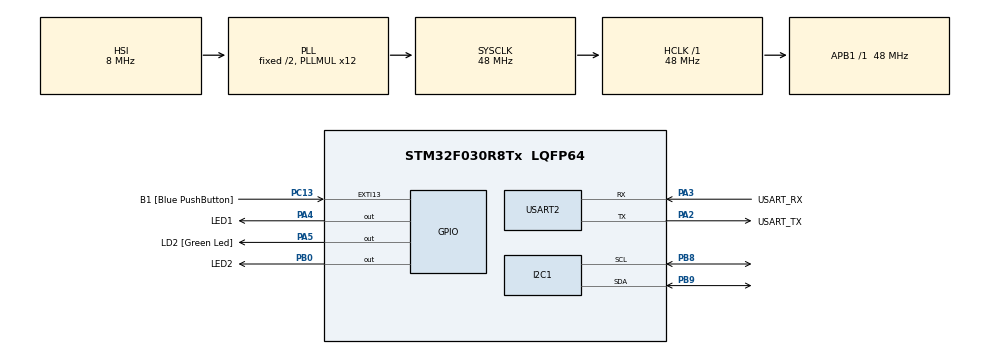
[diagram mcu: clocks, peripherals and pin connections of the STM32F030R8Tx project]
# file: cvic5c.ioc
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Dma.Request0=USART2_RX
Dma.USART2_RX.0.Direction=DMA_PERIPH_TO_MEMORY
Dma.USART2_RX.0.Instance=DMA1_Channel5
Dma.USART2_RX.0.MemDataAlignment=DMA_MDATAALIGN_BYTE
Dma.USART2_RX.0.MemInc=DMA_MINC_ENABLE
Dma.USART2_RX.0.Mode=DMA_CIRCULAR
Dma.USART2_RX.0.PeriphDataAlignment=DMA_PDATAALIGN_BYTE
Dma.USART2_RX.0.PeriphInc=DMA_PINC_DISABLE
Dma.USART2_RX.0.Priority=DMA_PRIORITY_LOW
Mcu.Family=STM32F0
Mcu.Name=STM32F030R8Tx
Mcu.Package=LQFP64
NVIC.DMA1_Channel4_5_IRQn=true\:0\:0\:false\:false\:true\:false\:true\:true
PA13.GPIO_Label=TMS
PA13.Mode=Serial_Wire
PA13.Signal=SYS_SWDIO
PA14.GPIO_Label=TCK
PA14.Mode=Serial_Wire
PA14.Signal=SYS_SWCLK
PA2.GPIO_Label=USART_TX
PA2.GPIO_Mode=GPIO_MODE_AF_PP
PA2.GPIO_PuPd=GPIO_NOPULL
PA2.GPIO_Speed=GPIO_SPEED_FREQ_LOW
PA2.Mode=Asynchronous
PA2.Signal=USART2_TX
PA3.GPIO_Label=USART_RX
PA3.GPIO_Mode=GPIO_MODE_AF_PP
PA3.GPIO_PuPd=GPIO_NOPULL
PA3.GPIO_Speed=GPIO_SPEED_FREQ_LOW
PA3.Mode=Asynchronous
PA3.Signal=USART2_RX
PA4.GPIO_Label=LED1
PA4.Signal=GPIO_Output
PA5.GPIO_Label=LD2 [Green Led]
PA5.GPIO_Mode=GPIO_MODE_OUTPUT_PP
PA5.GPIO_PuPd=GPIO_NOPULL
PA5.GPIO_Speed=GPIO_SPEED_FREQ_LOW
PA5.Signal=GPIO_Output
PB0.GPIO_Label=LED2
PB0.Signal=GPIO_Output
PB8.Mode=I2C
PB8.Signal=I2C1_SCL
PB9.Mode=I2C
PB9.Signal=I2C1_SDA
PC13.GPIO_Label=B1 [Blue PushButton]
PC13.GPIO_ModeDefaultEXTI=GPIO_MODE_IT_FALLING
PC13.Signal=GPXTI13
PC14-OSC32_IN.Mode=LSE-External-Oscillator
PC14-OSC32_IN.Signal=RCC_OSC32_IN
PC15-OSC32_OUT.Mode=LSE-External-Oscillator
PC15-OSC32_OUT.Signal=RCC_OSC32_OUT
PF0-OSC_IN.Mode=HSE-External-Clock-Source
PF0-OSC_IN.Signal=RCC_OSC_IN
PF1-OSC_OUT.Signal=RCC_OSC_OUT
ProjectManager.HeapSize=0x200
ProjectManager.StackSize=0x400
ProjectManager.TargetToolchain=STM32CubeIDE
RCC.AHBFreq_Value=48000000
RCC.APB1Freq_Value=48000000
RCC.APB1TimFreq_Value=48000000
RCC.HCLKFreq_Value=48000000
RCC.PLLMUL=RCC_PLL_MUL12
RCC.SYSCLKFreq_VALUE=48000000
RCC.SYSCLKSource=RCC_SYSCLKSOURCE_PLLCLK
USART2.VirtualMode-Asynchronous=VM_ASYNC
board=NUCLEO-F030R8

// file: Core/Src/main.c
/* USER CODE BEGIN Header */
/**
  ******************************************************************************
  * @file           : main.c
  * @brief          : Main program body
  ******************************************************************************
  * @attention
  *
  * Copyright (c) 2022 STMicroelectronics.
  * All rights reserved.
  *
  * This software is licensed under terms that can be found in the LICENSE file
  * in the root directory of this software component.
  * If no LICENSE file comes with this software, it is provided AS-IS.
  *
  ******************************************************************************
  */
/* USER CODE END Header */
#include "main.h"

/* USER CODE BEGIN Includes */
#include <stdio.h>
#include <string.h>
#include <stdlib.h>     /* strtol */
/* USER CODE END Includes */

/* USER CODE BEGIN PD */
#define RX_BUFFER_LEN 64
#define CMD_BUFFER_LEN 256
#define uart_rx_write_ptr (RX_BUFFER_LEN - hdma_usart2_rx.Instance->CNDTR)
#define EEPROM_ADDR 0xA0 // i2c memory add

/* USER CODE END PD */

I2C_HandleTypeDef hi2c1;

UART_HandleTypeDef huart2;
DMA_HandleTypeDef hdma_usart2_rx;

/* USER CODE BEGIN PV */
static uint8_t uart_rx_buf[RX_BUFFER_LEN];
static volatile uint16_t uart_rx_read_ptr = 0;
/* USER CODE END PV */

void SystemClock_Config(void);
static void MX_GPIO_Init(void);
static void MX_DMA_Init(void);
static void MX_USART2_UART_Init(void);
static void MX_I2C1_Init(void);
/* USER CODE BEGIN PFP */
static void uart_process_command(char *cmd) {
	char *token;
	token = strtok(cmd, " ");
	// Communication check
	if (strcasecmp(token, "HELLO") == 0) {
		printf("Komunikace OK\n");

	// LED1 setting
	} else if (strcasecmp(token, "LED1") == 0) {
		token = strtok(NULL, " ");
		if (strcasecmp(token, "ON") == 0) {
			HAL_GPIO_WritePin(LED1_GPIO_Port, LED1_Pin, 1); // ON
		} else if (strcasecmp(token, "OFF") == 0) {
			HAL_GPIO_WritePin(LED1_GPIO_Port, LED1_Pin, 0); // OFF
		}
		printf("Setting led1 ");
		printf(token);
		printf("\n");

	// LED2 setting
	} else if (strcasecmp(token, "LED2") == 0) {
		token = strtok(NULL, " ");
		if (strcasecmp(token, "ON") == 0) {
			HAL_GPIO_WritePin(LED2_GPIO_Port, LED2_Pin, 1); // ON
		} else if (strcasecmp(token, "OFF") == 0) {
			HAL_GPIO_WritePin(LED2_GPIO_Port, LED2_Pin, 0); // OFF
		}
		printf("Setting led1 ");
		printf(token);
		printf("\n");

	// STATUS query
	} else if (strcasecmp(token, "STATUS") == 0) {
		uint8_t led1 = HAL_GPIO_ReadPin(LED1_GPIO_Port, LED1_Pin);
		uint8_t led2 = HAL_GPIO_ReadPin(LED2_GPIO_Port, LED2_Pin);
		printf("Status is:\n");
		printf("-LED1: %u\n", led1);
		printf("-LED2: %u\n", led2);

	// READ from memory
	} else if (strcasecmp(token, "READ") == 0) {
		token = strtok(NULL, " "); // read addres from string
		uint16_t addr = strtol(token, NULL, 16); // converse to int
		uint8_t val;
		HAL_I2C_Mem_Read(&hi2c1, EEPROM_ADDR, addr, I2C_MEMADD_SIZE_16BIT, &val, 1, 1000);
		printf("Addr 0x%04X = 0x%02X\n", addr, val);

	// WRITE to I2C memory
	} else if (strcasecmp(token, "WRITE") == 0) {
		token = strtok(NULL, " "); // read addres from string
		uint16_t addr = strtol(token, NULL, 16); // converse str add to int
		token = strtok(NULL, " "); // read value from string
		uint8_t val = strtol(token, NULL, 16); // converse str value to int
		HAL_I2C_Mem_Write(&hi2c1, EEPROM_ADDR, addr, I2C_MEMADD_SIZE_16BIT, &val, 1, 1000);
		/* Check if the EEPROM is ready for a new operation */
		while (HAL_I2C_IsDeviceReady(&hi2c1, EEPROM_ADDR, 300, 1000) == HAL_TIMEOUT) {}
		printf("DONE!\n");

	// DUMP MEMORY
	} else if (strcasecmp(token, "DUMP") == 0) {
		printf("****BEGIN DUMP MEMORY****\n");
		uint8_t this_val;
		// loop
		for (uint16_t i = 0; i <= 0x000F; i++) {
			// read value
			HAL_I2C_Mem_Read(&hi2c1, EEPROM_ADDR, i, I2C_MEMADD_SIZE_16BIT, &this_val, 1, 1000);
			// print value
			printf("%02X ", this_val);
			if (i%8 == 7 && i != 0){ // break line every 8 values
				printf("\n");
			}
		}
		printf("****END  DUMP  MEMORY****\n");

	// DUMP MEMORY FROM add TO add
	} else if (strcasecmp(token, "DUMPF") == 0) {
		printf("****BEGIN DUMP MEMORY****\n");
		uint8_t this_val;
		token = strtok(NULL, " "); // read start addres
		uint16_t addr_start = strtol(token, NULL, 16); // converse str -> int
		token = strtok(NULL, " "); // read stop addres
		uint16_t addr_stop = strtol(token, NULL, 16); // converse  str -> int
		// loop
		for (uint16_t i = addr_start; i <= addr_stop; i++) {
			// read value
			HAL_I2C_Mem_Read(&hi2c1, EEPROM_ADDR, i, I2C_MEMADD_SIZE_16BIT, &this_val, 1, 1000);
			// print value
			printf("%02X ", this_val);
			if (i%8 == 7 && i != 0){ // break line every 8 values
				printf("\n");
			}
		}
		printf("****END  DUMP  MEMORY****\n");
	}
	else {
		printf("unknown command\n");
	}

}

static void uart_byte_available(uint8_t c)
{
 static uint16_t cnt;
 static char data[CMD_BUFFER_LEN];
 if (cnt < CMD_BUFFER_LEN && c >= 32 && c <= 126) data[cnt++] = c;
 if ((c == '\n' || c == '\r') && cnt > 0) {
 data[cnt] = '\0';
 uart_process_command(data);
 cnt = 0;
 }
}

/* USER CODE END PFP */

/* USER CODE BEGIN 0 */
int _write(int file, char const *buf, int n)
{
 /* stdout redirection to UART2 */
 HAL_UART_Transmit(&huart2, (uint8_t*)(buf), n, HAL_MAX_DELAY);
 return n;
}
/* USER CODE END 0 */

int main(void)
{

  /* MCU Configuration--------------------------------------------------------*/

  /* Reset of all peripherals, Initializes the Flash interface and the Systick. */
  HAL_Init();

  /* Configure the system clock */
  SystemClock_Config();

  /* Initialize all configured peripherals */
  MX_GPIO_Init();
  MX_DMA_Init();
  MX_USART2_UART_Init();
  MX_I2C1_Init();
  /* USER CODE BEGIN 2 */
  HAL_UART_Receive_DMA(&huart2, uart_rx_buf, RX_BUFFER_LEN);
  /* USER CODE END 2 */

  /* Infinite loop */
  while (1)
  {

    /* USER CODE BEGIN 3 */
	  while (uart_rx_read_ptr != uart_rx_write_ptr) {
	   uint8_t b = uart_rx_buf[uart_rx_read_ptr];
	   if (++uart_rx_read_ptr >= RX_BUFFER_LEN) uart_rx_read_ptr = 0; // increase read pointer
	   uart_byte_available(b); // process every received byte with the RX state machine
	  }
  }
  /* USER CODE END 3 */
}

void SystemClock_Config(void)
{
  RCC_OscInitTypeDef RCC_OscInitStruct = {0};
  RCC_ClkInitTypeDef RCC_ClkInitStruct = {0};
  RCC_PeriphCLKInitTypeDef PeriphClkInit = {0};

  /** Initializes the RCC Oscillators according to the specified parameters
  * in the RCC_OscInitTypeDef structure.
  */
  RCC_OscInitStruct.OscillatorType = RCC_OSCILLATORTYPE_HSI;
  RCC_OscInitStruct.HSIState = RCC_HSI_ON;
  RCC_OscInitStruct.HSICalibrationValue = RCC_HSICALIBRATION_DEFAULT;
  RCC_OscInitStruct.PLL.PLLState = RCC_PLL_ON;
  RCC_OscInitStruct.PLL.PLLSource = RCC_PLLSOURCE_HSI;
  RCC_OscInitStruct.PLL.PLLMUL = RCC_PLL_MUL12;
  RCC_OscInitStruct.PLL.PREDIV = RCC_PREDIV_DIV1;
  if (HAL_RCC_OscConfig(&RCC_OscInitStruct) != HAL_OK)
  {
    Error_Handler();
  }

  /** Initializes the CPU, AHB and APB buses clocks
  */
  RCC_ClkInitStruct.ClockType = RCC_CLOCKTYPE_HCLK|RCC_CLOCKTYPE_SYSCLK
                              |RCC_CLOCKTYPE_PCLK1;
  RCC_ClkInitStruct.SYSCLKSource = RCC_SYSCLKSOURCE_PLLCLK;
  RCC_ClkInitStruct.AHBCLKDivider = RCC_SYSCLK_DIV1;
  RCC_ClkInitStruct.APB1CLKDivider = RCC_HCLK_DIV1;

  if (HAL_RCC_ClockConfig(&RCC_ClkInitStruct, FLASH_LATENCY_1) != HAL_OK)
  {
    Error_Handler();
  }
  PeriphClkInit.PeriphClockSelection = RCC_PERIPHCLK_I2C1;
  PeriphClkInit.I2c1ClockSelection = RCC_I2C1CLKSOURCE_HSI;
  if (HAL_RCCEx_PeriphCLKConfig(&PeriphClkInit) != HAL_OK)
  {
    Error_Handler();
  }
}

static void MX_I2C1_Init(void)
{

  hi2c1.Instance = I2C1;
  hi2c1.Init.Timing = 0x2000090E;
  hi2c1.Init.OwnAddress1 = 0;
  hi2c1.Init.AddressingMode = I2C_ADDRESSINGMODE_7BIT;
  hi2c1.Init.DualAddressMode = I2C_DUALADDRESS_DISABLE;
  hi2c1.Init.OwnAddress2 = 0;
  hi2c1.Init.OwnAddress2Masks = I2C_OA2_NOMASK;
  hi2c1.Init.GeneralCallMode = I2C_GENERALCALL_DISABLE;
  hi2c1.Init.NoStretchMode = I2C_NOSTRETCH_DISABLE;
  if (HAL_I2C_Init(&hi2c1) != HAL_OK)
  {
    Error_Handler();
  }

  /** Configure Analogue filter
  */
  if (HAL_I2CEx_ConfigAnalogFilter(&hi2c1, I2C_ANALOGFILTER_ENABLE) != HAL_OK)
  {
    Error_Handler();
  }

  /** Configure Digital filter
  */
  if (HAL_I2CEx_ConfigDigitalFilter(&hi2c1, 0) != HAL_OK)
  {
    Error_Handler();
  }

}

static void MX_USART2_UART_Init(void)
{

  huart2.Instance = USART2;
  huart2.Init.BaudRate = 38400;
  huart2.Init.WordLength = UART_WORDLENGTH_8B;
  huart2.Init.StopBits = UART_STOPBITS_1;
  huart2.Init.Parity = UART_PARITY_NONE;
  huart2.Init.Mode = UART_MODE_TX_RX;
  huart2.Init.HwFlowCtl = UART_HWCONTROL_NONE;
  huart2.Init.OverSampling = UART_OVERSAMPLING_16;
  huart2.Init.OneBitSampling = UART_ONE_BIT_SAMPLE_DISABLE;
  huart2.AdvancedInit.AdvFeatureInit = UART_ADVFEATURE_NO_INIT;
  if (HAL_UART_Init(&huart2) != HAL_OK)
  {
    Error_Handler();
  }

}

static void MX_DMA_Init(void)
{

  /* DMA controller clock enable */
  __HAL_RCC_DMA1_CLK_ENABLE();

  /* DMA interrupt init */
  /* DMA1_Channel4_5_IRQn interrupt configuration */
  HAL_NVIC_SetPriority(DMA1_Channel4_5_IRQn, 0, 0);
  HAL_NVIC_EnableIRQ(DMA1_Channel4_5_IRQn);

}

static void MX_GPIO_Init(void)
{
  GPIO_InitTypeDef GPIO_InitStruct = {0};

  /* GPIO Ports Clock Enable */
  __HAL_RCC_GPIOC_CLK_ENABLE();
  __HAL_RCC_GPIOF_CLK_ENABLE();
  __HAL_RCC_GPIOA_CLK_ENABLE();
  __HAL_RCC_GPIOB_CLK_ENABLE();

  /*Configure GPIO pin Output Level */
  HAL_GPIO_WritePin(GPIOA, GPIO_PIN_4|GPIO_PIN_5, GPIO_PIN_RESET);

  /*Configure GPIO pin Output Level */
  HAL_GPIO_WritePin(GPIOB, GPIO_PIN_0, GPIO_PIN_RESET);

  /*Configure GPIO pin : PC13 */
  GPIO_InitStruct.Pin = GPIO_PIN_13;
  GPIO_InitStruct.Mode = GPIO_MODE_IT_FALLING;
  GPIO_InitStruct.Pull = GPIO_NOPULL;
  HAL_GPIO_Init(GPIOC, &GPIO_InitStruct);

  /*Configure GPIO pins : PA4 PA5 */
  GPIO_InitStruct.Pin = GPIO_PIN_4|GPIO_PIN_5;
  GPIO_InitStruct.Mode = GPIO_MODE_OUTPUT_PP;
  GPIO_InitStruct.Pull = GPIO_NOPULL;
  GPIO_InitStruct.Speed = GPIO_SPEED_FREQ_LOW;
  HAL_GPIO_Init(GPIOA, &GPIO_InitStruct);

  /*Configure GPIO pin : PB0 */
  GPIO_InitStruct.Pin = GPIO_PIN_0;
  GPIO_InitStruct.Mode = GPIO_MODE_OUTPUT_PP;
  GPIO_InitStruct.Pull = GPIO_NOPULL;
  GPIO_InitStruct.Speed = GPIO_SPEED_FREQ_LOW;
  HAL_GPIO_Init(GPIOB, &GPIO_InitStruct);

}

void Error_Handler(void)
{
  __disable_irq();
  while (1)
  {
  }
}
